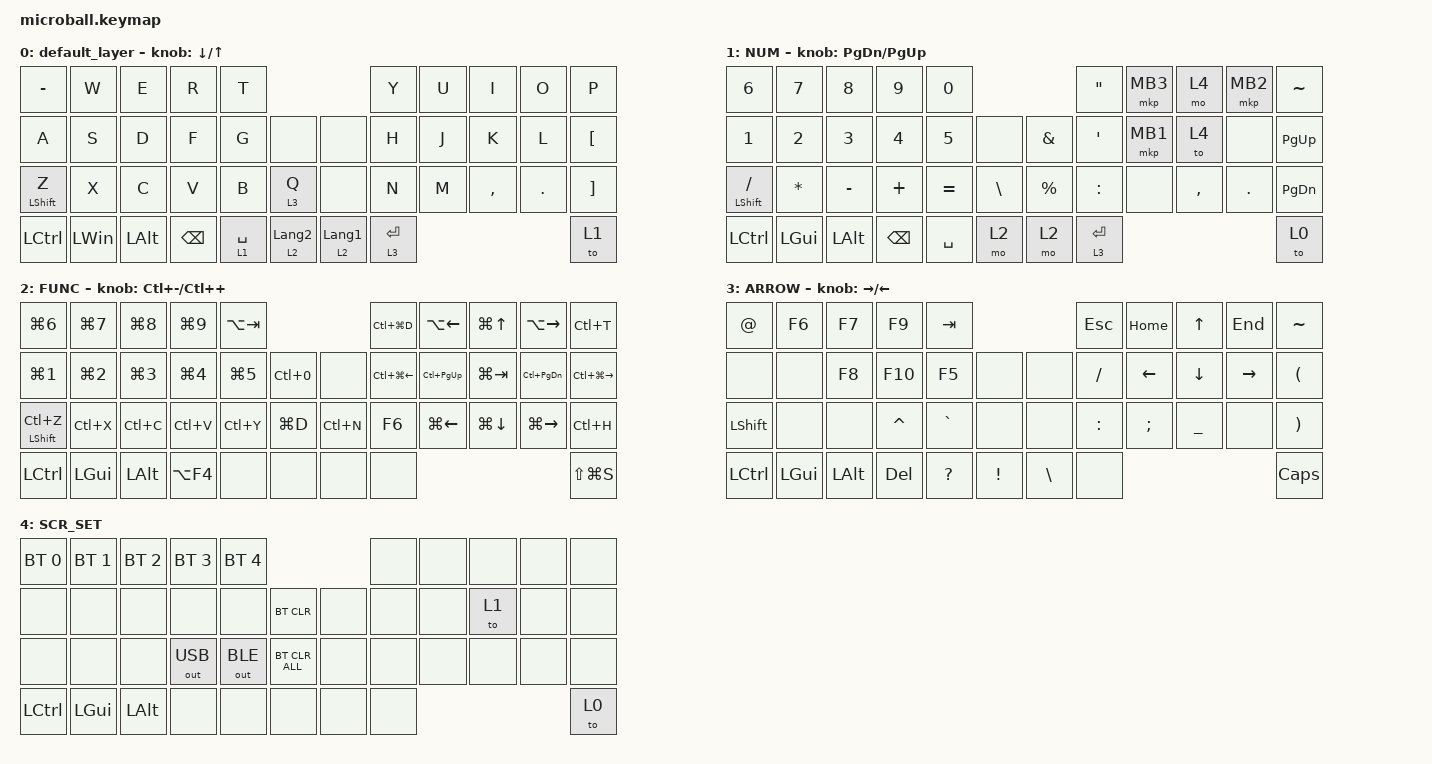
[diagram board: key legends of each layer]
#include <behaviors.dtsi>
#include <dt-bindings/zmk/bt.h>
#include <dt-bindings/zmk/keys.h>
#include <dt-bindings/zmk/outputs.h>
#include <dt-bindings/zmk/pointing.h>

#define MOUSE 4
#define SCROLL 5
#define NUM 6

/ {
    combos {
        compatible = "zmk,combos";

        tab {
            bindings = <&kp TAB>;
            key-positions = <1 0>;
            layers = <0>;
        };

        bluetooth {
            bindings = <&to 4>;
            key-positions = <26 4>;
            layers = <0>;
        };

        santen {
            bindings = <&z_macro PERIOD>;
            key-positions = <31 32>;
        };

        dash {
            bindings = <&z_macro MINUS>;
            key-positions = <19 20>;
        };

        kagi_s {
            bindings = <&z_macro LEFT_BRACKET>;
            key-positions = <20 21>;
        };

        kagi_e {
            bindings = <&z_macro RIGHT_BRACKET>;
            key-positions = <33 32>;
        };

        layar_to_0 {
            bindings = <&to 0>;
            key-positions = <37 16 28>;
        };

        Ctrl_W {
            bindings = <&kp LC(W)>;
            key-positions = <8 9>;
            layers = <2>;
        };
    };

    macros {
        z_macro: new_macro {
            compatible = "zmk,behavior-macro-one-param";
            #binding-cells = <1>;
            bindings = <&kp Z &macro_param_1to1 &kp MACRO_PLACEHOLDER>;
            label = "NEW_MACRO";
        };
    };

    behaviors {
        mt2: mt2 {
            compatible = "zmk,behavior-hold-tap";
            label = "MT2";
            bindings = <&kp>, <&kp>;

            #binding-cells = <2>;
            tapping-term-ms = <200>;
            flavor = "balanced";
        };
    };

    keymap {
        compatible = "zmk,keymap";

        default_layer {
            bindings = <
&kp MINUS          &kp W         &kp E         &kp R          &kp T                                                &kp Y        &kp U  &kp I      &kp O    &kp P
&kp A              &kp S         &kp D         &kp F          &kp G        &none                 &none             &kp H        &kp J  &kp K      &kp L    &kp LEFT_BRACKET
&mt2 LEFT_SHIFT Z  &kp X         &kp C         &kp V          &kp B        &lt 3 Q               &none             &kp N        &kp M  &kp COMMA  &kp DOT  &kp RIGHT_BRACKET
&kp LCTRL          &kp LEFT_WIN  &kp LEFT_ALT  &kp BACKSPACE  &lt 1 SPACE  &lt 2 LANGUAGE_2      &lt 2 LANGUAGE_1  &lt 3 ENTER                             &to 1
            >;

            sensor-bindings = <&inc_dec_kp DOWN_ARROW UP_ARROW>;
        };

        NUM {
            bindings = <
&kp NUMBER_6          &kp N7        &kp N8        &kp NUMBER_9   &kp N0                                       &kp DOUBLE_QUOTES  &mkp MB3  &mo 4      &mkp MB2    &kp TILDE
&kp NUMBER_1          &kp NUMBER_2  &kp NUMBER_3  &kp NUMBER_4   &kp N5     &none              &kp AMPERSAND  &kp SINGLE_QUOTE   &mkp MB1  &to 4      &none       &kp PAGE_UP
&mt LEFT_SHIFT SLASH  &kp ASTERISK  &kp MINUS     &kp PLUS       &kp EQUAL  &kp BACKSLASH      &kp PERCENT    &kp COLON          &none     &kp COMMA  &kp PERIOD  &kp PAGE_DOWN
&kp LEFT_CONTROL      &kp LEFT_GUI  &kp LEFT_ALT  &kp BACKSPACE  &kp SPACE  &mo 2              &mo 2          &lt 3 ENTER                                         &to 0
            >;

            sensor-bindings = <&inc_dec_kp PAGE_DOWN PAGE_UP>;
        };

        FUNC {
            bindings = <
&kp LG(NUMBER_6)      &kp LG(NUMBER_7)  &kp LG(NUMBER_8)  &kp LG(NUMBER_9)  &kp LA(TAB)                                   &kp LC(LG(D))           &kp LA(LEFT_ARROW)  &kp LG(UP_ARROW)    &kp LA(RIGHT_ARROW)  &kp LC(T)
&kp LG(NUMBER_1)      &kp LG(NUMBER_2)  &kp LG(NUMBER_3)  &kp LG(NUMBER_4)  &kp LG(N5)   &kp LC(NUMBER_0)      &none      &kp LC(LG(LEFT_ARROW))  &kp LC(PAGE_UP)     &kp LG(TAB)         &kp LC(PAGE_DOWN)    &kp LC(LG(RIGHT_ARROW))
&mt LEFT_SHIFT LC(Z)  &kp LC(X)         &kp LC(C)         &kp LC(V)         &kp LC(Y)    &kp LG(D)             &kp LC(N)  &kp F6                  &kp LG(LEFT_ARROW)  &kp LG(DOWN_ARROW)  &kp LG(RIGHT_ARROW)  &kp LC(H)
&kp LEFT_CONTROL      &kp LEFT_GUI      &kp LEFT_ALT      &kp LA(F4)        &none        &none                 &none      &none                                                                                &kp LS(LG(S))
            >;

            sensor-bindings = <&inc_dec_kp LC(MINUS) LC(PLUS)>;
        };

        ARROW {
            bindings = <
&kp AT_SIGN       &kp F6        &kp F7        &kp F9      &kp TAB                                           &kp ESCAPE  &kp HOME        &kp UP_ARROW    &kp END          &kp TILDE
&none             &none         &kp F8        &kp F10     &kp F5        &none                &none          &kp SLASH   &kp LEFT_ARROW  &kp DOWN_ARROW  &kp RIGHT_ARROW  &kp LEFT_PARENTHESIS
&kp LEFT_SHIFT    &none         &none         &kp CARET   &kp GRAVE     &none                &none          &kp COLON   &kp SEMICOLON   &kp UNDERSCORE  &none            &kp RIGHT_PARENTHESIS
&kp LEFT_CONTROL  &kp LEFT_GUI  &kp LEFT_ALT  &kp DELETE  &kp QUESTION  &kp EXCLAMATION      &kp BACKSLASH  &none                                                        &kp CAPSLOCK
            >;

            sensor-bindings = <&inc_dec_kp RIGHT_ARROW LEFT_ARROW>;
        };

        SCR_SET {
            bindings = <
&bt BT_SEL 0      &bt BT_SEL 1  &bt BT_SEL 2  &bt BT_SEL 3  &bt BT_SEL 4                             &none  &none  &none  &none  &none
&none             &none         &none         &none         &none         &bt BT_CLR          &none  &none  &none  &to 1  &none  &none
&none             &none         &none         &out OUT_USB  &out OUT_BLE  &bt BT_CLR_ALL      &none  &none  &none  &none  &none  &none
&kp LEFT_CONTROL  &kp LEFT_GUI  &kp LEFT_ALT  &none         &none         &none               &none  &none                       &to 0
            >;
        };
    };
};
